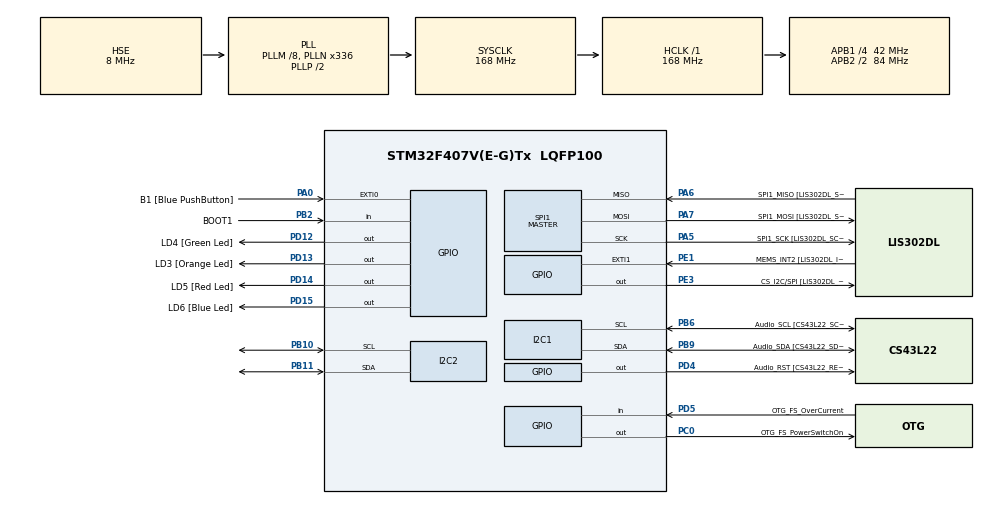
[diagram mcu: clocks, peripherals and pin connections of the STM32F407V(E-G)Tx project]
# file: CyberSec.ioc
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I2C2.I2C_Mode=I2C_Standard
Mcu.Family=STM32F4
Mcu.Name=STM32F407V(E-G)Tx
Mcu.Package=LQFP100
NVIC.PriorityGroup=NVIC_PRIORITYGROUP_0
PA0-WKUP.GPIO_Label=B1 [Blue PushButton]
PA0-WKUP.GPIO_ModeDefaultEXTI=GPIO_MODE_EVT_RISING
PA0-WKUP.GPIO_PuPd=GPIO_NOPULL
PA0-WKUP.Signal=GPXTI0
PA13.GPIO_Label=SWDIO
PA13.Mode=Serial_Wire
PA13.Signal=SYS_JTMS-SWDIO
PA14.GPIO_Label=SWCLK
PA14.Mode=Serial_Wire
PA14.Signal=SYS_JTCK-SWCLK
PA5.GPIO_Label=SPI1_SCK [LIS302DL_SCL/SPC]
PA5.GPIO_Mode=GPIO_MODE_AF_PP
PA5.GPIO_PuPd=GPIO_NOPULL
PA5.GPIO_Speed=GPIO_SPEED_FREQ_LOW
PA5.Mode=Full_Duplex_Master
PA5.Signal=SPI1_SCK
PA6.GPIO_Label=SPI1_MISO [LIS302DL_SDO]
PA6.GPIO_Mode=GPIO_MODE_AF_PP
PA6.GPIO_PuPd=GPIO_NOPULL
PA6.GPIO_Speed=GPIO_SPEED_FREQ_LOW
PA6.Mode=Full_Duplex_Master
PA6.Signal=SPI1_MISO
PA7.GPIO_Label=SPI1_MOSI [LIS302DL_SDA/SDI/SDO]
PA7.GPIO_Mode=GPIO_MODE_AF_PP
PA7.GPIO_PuPd=GPIO_NOPULL
PA7.GPIO_Speed=GPIO_SPEED_FREQ_LOW
PA7.Mode=Full_Duplex_Master
PA7.Signal=SPI1_MOSI
PB10.Mode=I2C
PB10.Signal=I2C2_SCL
PB11.Mode=I2C
PB11.Signal=I2C2_SDA
PB2.GPIO_Label=BOOT1
PB2.GPIO_Mode=GPIO_MODE_INPUT
PB2.GPIO_PuPd=GPIO_NOPULL
PB2.Signal=GPIO_Input
PB6.GPIO_Label=Audio_SCL [CS43L22_SCL]
PB6.GPIO_Mode=GPIO_MODE_AF_OD
PB6.GPIO_Pu=GPIO_PULLUP
PB6.GPIO_PuPd=GPIO_NOPULL
PB6.GPIO_Speed=GPIO_SPEED_FREQ_LOW
PB6.Mode=I2C
PB6.Signal=I2C1_SCL
PB9.GPIO_Label=Audio_SDA [CS43L22_SDA]
PB9.GPIO_Mode=GPIO_MODE_AF_OD
PB9.GPIO_Pu=GPIO_PULLUP
PB9.GPIO_PuPd=GPIO_NOPULL
PB9.GPIO_Speed=GPIO_SPEED_FREQ_LOW
PB9.Mode=I2C
PB9.Signal=I2C1_SDA
PC0.GPIO_Label=OTG_FS_PowerSwitchOn
PC0.GPIO_PuPd=GPIO_NOPULL
PC0.GPIO_Speed=GPIO_SPEED_FREQ_LOW
PC0.PinState=GPIO_PIN_SET
PC0.Signal=GPIO_Output
PC14-OSC32_IN.GPIO_Label=PC14-OSC32_IN
PC14-OSC32_IN.Mode=LSE-External-Oscillator
PC14-OSC32_IN.Signal=RCC_OSC32_IN
PC15-OSC32_OUT.GPIO_Label=PC15-OSC32_OUT
PC15-OSC32_OUT.Mode=LSE-External-Oscillator
PC15-OSC32_OUT.Signal=RCC_OSC32_OUT
PD12.GPIO_Label=LD4 [Green Led]
PD12.GPIO_PuPd=GPIO_NOPULL
PD12.GPIO_Speed=GPIO_SPEED_FREQ_LOW
PD12.Signal=GPIO_Output
PD13.GPIO_Label=LD3 [Orange Led]
PD13.GPIO_PuPd=GPIO_NOPULL
PD13.GPIO_Speed=GPIO_SPEED_FREQ_LOW
PD13.Signal=GPIO_Output
PD14.GPIO_Label=LD5 [Red Led]
PD14.GPIO_PuPd=GPIO_NOPULL
PD14.GPIO_Speed=GPIO_SPEED_FREQ_LOW
PD14.Signal=GPIO_Output
PD15.GPIO_Label=LD6 [Blue Led]
PD15.GPIO_PuPd=GPIO_NOPULL
PD15.GPIO_Speed=GPIO_SPEED_FREQ_LOW
PD15.Signal=GPIO_Output
PD4.GPIO_Label=Audio_RST [CS43L22_RESET]
PD4.GPIO_PuPd=GPIO_NOPULL
PD4.GPIO_Speed=GPIO_SPEED_FREQ_LOW
PD4.Signal=GPIO_Output
PD5.GPIO_Label=OTG_FS_OverCurrent
PD5.GPIO_Mode=GPIO_MODE_INPUT
PD5.GPIO_PuPd=GPIO_NOPULL
PD5.Signal=GPIO_Input
PE1.GPIO_Label=MEMS_INT2 [LIS302DL_INT2]
PE1.GPIO_ModeDefaultEXTI=GPIO_MODE_EVT_RISING
PE1.GPIO_PuPd=GPIO_NOPULL
PE1.Signal=GPXTI1
PE3.GPIO_Label=CS_I2C/SPI [LIS302DL_CS_I2C/SPI]
PE3.GPIO_PuPd=GPIO_NOPULL
PE3.GPIO_Speed=GPIO_SPEED_FREQ_LOW
PE3.Signal=GPIO_Output
PH0-OSC_IN.GPIO_Label=PH0-OSC_IN
PH0-OSC_IN.Mode=HSE-External-Oscillator
PH0-OSC_IN.Signal=RCC_OSC_IN
PH1-OSC_OUT.GPIO_Label=PH1-OSC_OUT
PH1-OSC_OUT.Mode=HSE-External-Oscillator
PH1-OSC_OUT.Signal=RCC_OSC_OUT
ProjectManager.HeapSize=0x200
ProjectManager.StackSize=0x400
ProjectManager.TargetToolchain=STM32CubeIDE
RCC.48MHZClocksFreq_Value=48000000
RCC.AHBFreq_Value=168000000
RCC.APB1CLKDivider=RCC_HCLK_DIV4
RCC.APB1Freq_Value=42000000
RCC.APB1TimFreq_Value=84000000
RCC.APB2CLKDivider=RCC_HCLK_DIV2
RCC.APB2Freq_Value=84000000
RCC.APB2TimFreq_Value=168000000
RCC.CortexFreq_Value=168000000
RCC.HCLKFreq_Value=168000000
RCC.HSE_VALUE=8000000
RCC.HSI_VALUE=16000000
RCC.PLLM=8
RCC.PLLN=336
RCC.PLLQ=7
RCC.PLLSourceVirtual=RCC_PLLSOURCE_HSE
RCC.SYSCLKFreq_VALUE=168000000
RCC.SYSCLKSource=RCC_SYSCLKSOURCE_PLLCLK
RCC.VCOOutputFreq_Value=336000000
SPI1.BaudRatePrescaler-Full_Duplex_Master=SPI_BAUDRATEPRESCALER_2
SPI1.CalculateBaudRate-Full_Duplex_Master=42.0 MBits/s
SPI1.Direction=SPI_DIRECTION_2LINES
SPI1.Mode=SPI_MODE_MASTER
SPI1.Mode-Full_Duplex_Master=SPI_MODE_MASTER
SPI1.VirtualType=VM_MASTER
VP_CRC_VS_CRC.Mode=CRC_Activate
VP_RNG_VS_RNG.Mode=RNG_Activate
board=STM32F407G-DISC1

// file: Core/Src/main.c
/* USER CODE BEGIN Header */
/**
  ******************************************************************************
  * @file           : main.c
  * @brief          : Main program body
  ******************************************************************************
  * @attention
  *
  * Copyright (c) 2023 STMicroelectronics.
  * All rights reserved.
  *
  * This software is licensed under terms that can be found in the LICENSE file
  * in the root directory of this software component.
  * If no LICENSE file comes with this software, it is provided AS-IS.
  *
  ******************************************************************************
  */
/* USER CODE END Header */
#include "main.h"

/* USER CODE BEGIN Includes */
#include "CryptoWrapper.h"
/* USER CODE END Includes */

/* USER CODE BEGIN PD */
#define BUFFER_SIZE 0x1FFFC

/* USER CODE END PD */

CRC_HandleTypeDef hcrc;

I2C_HandleTypeDef hi2c1;
I2C_HandleTypeDef hi2c2;

RNG_HandleTypeDef hrng;

SPI_HandleTypeDef hspi1;

/* USER CODE BEGIN PV */
extern I2C_HandleTypeDef hi2c2;
uint8_t random_number[32];
uint8_t AddressValue = 0;
uint8_t crc_len = 27;
//uint8_t crc_TestVal[5] = { 0x07, 0x02,	0x80,	0x00,	0x00};
				/*  1	 2	   3	4	  5		 6	  7		 8	   9	10	  11	12	  13    14	  15    16	  17    18    19    20    21 */
/*
uint8_t crc_TestVal[31] ={ 0x23, 0xD0, 0x6C, 0x00, 0x00, 0x60, 0x02, 0x60, 0x85, 0xC5, 0x5C, 0xEE, 0x01, 0x39, 0x00, 0xC0, 0x00, 0x00, 0x00,
				  0x83, 0x20, 0x87, 0x20, 0x8F, 0x20, 0xC4, 0x8F, 0x8F, 0x8F, 0x8F, 0x8F };*/
uint8_t crc_TestVal[27] = {0x6C	,0x00,	0x00,	0x60,	0x85,	0xC5	,0x5C,	0xEE,	0x01,	0x39,	0x00,	0xC0,	0x00,	0x00,	0x00,	0x83,	0x20,	0x87, 0x20,
0x8F,	0x20,	0xC4,	0x8F,	0x8F,	0x8F,	0x8F,	0x8F};

const uint8_t SignaturedataNew[70] = {
    0x30, 0x44, 0x02, 0x20, 0x21, 0xA3, 0x57, 0x0E, 0xF2, 0x3C, 0x55, 0xEB, 0xD5, 0xDF, 0x0C, 0x55,
    0xF6, 0xE2, 0xCB, 0x41, 0x07, 0xD3, 0x4F, 0x51, 0x14, 0xE2, 0x3D, 0xB9, 0x1C, 0x9E, 0x5E, 0x4C,
    0x89, 0xB1, 0x01, 0x0E, 0x02, 0x20, 0x3B, 0x54, 0x65, 0x24, 0x44, 0x44, 0xD0, 0x58, 0xFB, 0x95,
    0x61, 0x97, 0xDE, 0x07, 0xA8, 0x17, 0x4F, 0xD0, 0xBD, 0x70, 0x4D, 0xC2, 0xE7, 0x51, 0xEE, 0xB1,
    0x9C, 0x0B, 0xA6, 0x37, 0xBC, 0x5B
};

const uint8_t SignaturedataRSNew [64] =
{		0x44, 0x9D, 0x07, 0x7F, 0xDD, 0xC4, 0xB6, 0xA7,
		0xA1, 0x94, 0x98, 0x86, 0xCD, 0x44, 0xAB, 0xF0,
		0x6B, 0x98, 0x64, 0x12, 0xF1, 0xDF, 0xEC, 0xD8,
		0x6A, 0x88, 0x28, 0x36, 0xBF, 0x63, 0xA3, 0x19,
		0x6D, 0x69, 0xFD, 0x59, 0xB9, 0x3C, 0xDF, 0xA3,
		0x58, 0x48, 0xAF, 0xD7, 0x5D, 0x20, 0x1F, 0x7E,
		0xF6, 0xA2, 0xA5, 0xFD, 0xF8, 0x3D, 0xC6, 0xC5,
		0xE4, 0x65, 0x47, 0xC2, 0xE3, 0x50, 0x2F, 0x80};

const uint8_t SignaturedataRSOld [64] = {0x21, 0xA3, 0x57, 0x0E, 0xF2, 0x3, 0x55,0xEB,
0xD5, 0xDF, 0x0C, 0x55, 0xF6, 0xE2, 0xCB, 0x41,
0x07, 0xD3, 0x4F, 0x51, 0x14, 0xE2, 0x3D, 0xB9,
0x1C, 0x9E, 0x5E, 0x4C, 0x89, 0xB1, 0x01, 0x0E,
0x3B, 0x54, 0x65, 0x24, 0x44, 0x44, 0xD0, 0x58,
0xFB, 0x95, 0x61, 0x97, 0xDE, 0x07, 0xA8, 0x17,
0x4F, 0xD0, 0xBD, 0x70, 0x4D, 0xC2, 0xE7, 0x51,
0xEE, 0xB1, 0x9C, 0x0B, 0xA6, 0x37, 0xBC, 0x5B};

const uint8_t SignaturedataRSOldOutOfBin[64] = {
	/* R */
	0xFA, 0xA6, 0x8B, 0x91, 0x48, 0xC7, 0xB8, 0xC4, 0x61, 0x45, 0x99, 0xEF, 0xC8, 0x61, 0x87, 0xD8,
    0x82, 0x5F, 0xCE, 0x48, 0x1A, 0x9E, 0xB6, 0xDA, 0x4A, 0x60, 0x2E, 0xE4, 0xE8, 0x35, 0x23, 0xD4,
	/* S */
    0x23, 0xAA, 0xB7, 0x80, 0x29, 0x0C, 0x03, 0x02, 0x0C, 0xE8, 0x59, 0xDC, 0xEF, 0x27, 0xC1, 0x51,
    0xF0, 0xD1, 0xAA, 0x6E, 0x42, 0xB0, 0xD3, 0xF8, 0xB4, 0xC3, 0x45, 0xBF, 0xED, 0x7E, 0x0A, 0x5C
};

const uint8_t PublicKeyExtern[64] = {
						0x69,0x47,0x7b,0xfa,0x5a,0x5f,0x08,0x84,
						0x25,0x34,0xbd,0x24,0x79,0x42,0xb2,0x9a,
						0xb6,0xe4,0xdb,0x7a,0x37,0xca,0xc7,0xa0,
						0xb6,0xb7,0x49,0x0d,0x6c,0x01,0x32,0x1a,

						0xf1,0xab,0xc6,0xdb,0x80,0x90,0x70,0x52,
						0x40,0x55,0x6f,0xc1,0x62,0x9a,0xb3,0xd5,
					    0x4c,0x4e,0xac,0x78,0x5f,0x62,0x74,0xe1,
						0x8d,0x64,0x2c,0xd4,0x40,0xc0,0xbf,0x77 };
const uint8_t hash[32] = {
    0x5D, 0x24, 0x33, 0x6A, 0x68, 0x31, 0xEF, 0x93, 0x45, 0xF4, 0x5A, 0x2B, 0x5D, 0x48, 0x4F, 0x3B,
    0x6E, 0x49, 0x4F, 0x76, 0x8C, 0xC1, 0xB7, 0xF4, 0x77, 0xD0, 0x41, 0xC0, 0xA3, 0x1F, 0x11, 0x9F
};

uint8_t crc_TestVal2 = 1;
uint8_t crc_Val_LE[2] = {0};
volatile uint8_t RxBufferLen = 0;
volatile uint8_t idleStatus = 0;
volatile uint8_t DeviceStatus = 0;
uint8_t bufferOut[128] = {0};
uint8_t bufferIn[128] = {0};
uint8_t SerialNumber[9] = {0};
uint8_t TestSecret[32] = {0};
const uint8_t TestSecretEntry[32] ={
0x86, 0x4A, 0x4A ,0x08, 0x1B, 0x10, 0xEF, 0x7D, 0xFC, 0x96, 0x6C, 0xD7, 0xB3, 0x1F, 0x2D, 0x14,
 0x0F, 0xAE, 0xCB, 0x5F, 0xF6, 0xE2, 0x18, 0x27, 0xDF, 0x03, 0x1C, 0x13, 0xE3, 0xA5, 0x97, 0xFA
};
const uint8_t enc_key [32] = {0xAA, 0xAA, 0xAA, 0xAA, 0xAA, 0xAA, 0xAA, 0xAA,
				0xAA, 0xAA, 0xAA, 0xAA, 0xAA, 0xAA, 0xAA, 0xAA,
				0xAA, 0xAA, 0xAA, 0xAA, 0xAA, 0xAA, 0xAA, 0xAA,
				0xAA, 0xAA, 0xAA, 0xAA, 0xAA, 0xAA, 0xAA, 0xAA};

const uint8_t cmac_test_data [4] = { 0x30, 0x30, 0x30, 0x30};

uint8_t cmac_test_data_out [16] = {0};
bool isVerified =  false;
atecc608_config_t ReadConfig;
uint8_t *p_ReadConfig = &ReadConfig;
/* USER CODE END PV */

void SystemClock_Config(void);
static void MX_GPIO_Init(void);
static void MX_I2C1_Init(void);
static void MX_SPI1_Init(void);
static void MX_I2C2_Init(void);
static void MX_RNG_Init(void);
static void MX_CRC_Init(void);
/* USER CODE BEGIN PFP */
int find_I2C_deviceAddress(void);

/* USER CODE END PFP */

int main(void)
{

  /* MCU Configuration--------------------------------------------------------*/

  /* Reset of all peripherals, Initializes the Flash interface and the Systick. */
  HAL_Init();

  /* Configure the system clock */
  SystemClock_Config();

  /* Initialize all configured peripherals */
  MX_GPIO_Init();
  MX_I2C1_Init();
  MX_SPI1_Init();
  MX_I2C2_Init();
  MX_RNG_Init();
  MX_CRC_Init();
  /* USER CODE BEGIN 2 */
 // AddressValue = find_I2C_deviceAddress();
  // initialize CryptoAuthLib for an ECC default I2C interface
  uint32_t BufferCount = BUFFER_SIZE /4;
  uint32_t BufferCount2 = 1;
  uint32_t myDataBuffer =(uint32_t*) 0x08040000;
  uint8_t testByte = 0;
  uint32_t R_ChecksumValue = 0;
  const char *p_StartAddress = 0x08040000;
  uint32_t u32_ChecksumValue = 0;
  uint8_t _36thByte = 0;
  uint8_t byteNumber = 36;
  uint8_t ATCA_ReturnStatus = 0;
  memset (bufferOut, 0x00, 128);
      bufferIn [0] = 'a';
      bufferIn [1] = 'b';
      bufferIn [2] = 'c';
      bufferIn [3] = 'd';

//
//// atca_trace_config( fopen("log/file1.txt", "w"));
// //atCRC(crc_len, &crc_TestVal[0], crc_Val_LE);
//u32_ChecksumValue = HAL_CRC_Accumulate(&hcrc, myDataBuffer, BufferCount);
//R_ChecksumValue = BE_to_SE_convert(u32_ChecksumValue);
// sha256( (uint8_t*)0x08000000, 0xFFD0u, bufferOut);
// for(int i = 0; i < 8;i++)
// {
// HAL_RNG_GenerateRandomNumber(&hrng, &random_number[i*4]);
// }

      DeviceStatus = Crypto_u_Init();

//      DeviceStatus = Crypto_u_ReadSerialNumber(SerialNumber);

//      DeviceStatus = Crypto_u_ReadConfigZone(bufferOut);
//
//      for(int i = 0; i < sizeof(ReadConfig); i++)
//      {
//    	  *(p_ReadConfig + i) = bufferOut[i];
//      }
      //DeviceStatus = atcab_write_pubkey(PUBLIC_KEY_SLOT, &PublicKeyExtern[0]);

  //    DeviceStatus = atcab_write_zone(ATCA_ZONE_DATA, (uint16_t)8U, 0, 0, &enc_key[0], 32);
   //   DeviceStatus = atcab_write_enc(14U, 0, TestSecretEntry, enc_key, 8U);
  //     DeviceStatus = atcab_write_zone(ATCA_ZONE_DATA, (uint16_t)12U, 0, 0, &TestSecretEntry[0], 32);
      DeviceStatus  = Crypto_u_Verify_stored(10U, hash, SignaturedataRSOldOutOfBin, &isVerified);
      DeviceStatus = Crypto_u_ReadSecret(TestSecret);
      DeviceStatus = Crypto_u_CalculateCMAC(AES_KEY2_SLOT, 0, cmac_test_data, 4U, cmac_test_data_out, 16U);
     // DeviceStatus = Crypto_u_Verify(hash, SignaturedataRSOldOutOfBin, PublicKeyExtern, &isVerified);
      HAL_Delay(1);
  /* USER CODE END 2 */

  /* Infinite loop */
  /* USER CODE BEGIN WHILE */
  while (1)
  {
	  idleStatus = atcab_idle();
    /* USER CODE END WHILE */

  }
}

void SystemClock_Config(void)
{
  RCC_OscInitTypeDef RCC_OscInitStruct = {0};
  RCC_ClkInitTypeDef RCC_ClkInitStruct = {0};

  /** Configure the main internal regulator output voltage
  */
  __HAL_RCC_PWR_CLK_ENABLE();
  __HAL_PWR_VOLTAGESCALING_CONFIG(PWR_REGULATOR_VOLTAGE_SCALE1);

  /** Initializes the RCC Oscillators according to the specified parameters
  * in the RCC_OscInitTypeDef structure.
  */
  RCC_OscInitStruct.OscillatorType = RCC_OSCILLATORTYPE_HSE;
  RCC_OscInitStruct.HSEState = RCC_HSE_ON;
  RCC_OscInitStruct.PLL.PLLState = RCC_PLL_ON;
  RCC_OscInitStruct.PLL.PLLSource = RCC_PLLSOURCE_HSE;
  RCC_OscInitStruct.PLL.PLLM = 8;
  RCC_OscInitStruct.PLL.PLLN = 336;
  RCC_OscInitStruct.PLL.PLLP = RCC_PLLP_DIV2;
  RCC_OscInitStruct.PLL.PLLQ = 7;
  if (HAL_RCC_OscConfig(&RCC_OscInitStruct) != HAL_OK)
  {
    Error_Handler();
  }

  /** Initializes the CPU, AHB and APB buses clocks
  */
  RCC_ClkInitStruct.ClockType = RCC_CLOCKTYPE_HCLK|RCC_CLOCKTYPE_SYSCLK
                              |RCC_CLOCKTYPE_PCLK1|RCC_CLOCKTYPE_PCLK2;
  RCC_ClkInitStruct.SYSCLKSource = RCC_SYSCLKSOURCE_PLLCLK;
  RCC_ClkInitStruct.AHBCLKDivider = RCC_SYSCLK_DIV1;
  RCC_ClkInitStruct.APB1CLKDivider = RCC_HCLK_DIV4;
  RCC_ClkInitStruct.APB2CLKDivider = RCC_HCLK_DIV2;

  if (HAL_RCC_ClockConfig(&RCC_ClkInitStruct, FLASH_LATENCY_5) != HAL_OK)
  {
    Error_Handler();
  }
}

static void MX_CRC_Init(void)
{

  hcrc.Instance = CRC;
  if (HAL_CRC_Init(&hcrc) != HAL_OK)
  {
    Error_Handler();
  }

}

static void MX_I2C1_Init(void)
{

  hi2c1.Instance = I2C1;
  hi2c1.Init.ClockSpeed = 100000;
  hi2c1.Init.DutyCycle = I2C_DUTYCYCLE_2;
  hi2c1.Init.OwnAddress1 = 0;
  hi2c1.Init.AddressingMode = I2C_ADDRESSINGMODE_7BIT;
  hi2c1.Init.DualAddressMode = I2C_DUALADDRESS_DISABLE;
  hi2c1.Init.OwnAddress2 = 0;
  hi2c1.Init.GeneralCallMode = I2C_GENERALCALL_DISABLE;
  hi2c1.Init.NoStretchMode = I2C_NOSTRETCH_DISABLE;
  if (HAL_I2C_Init(&hi2c1) != HAL_OK)
  {
    Error_Handler();
  }

}

static void MX_I2C2_Init(void)
{

  hi2c2.Instance = I2C2;
  hi2c2.Init.ClockSpeed = 100000;
  hi2c2.Init.DutyCycle = I2C_DUTYCYCLE_2;
  hi2c2.Init.OwnAddress1 = 0;
  hi2c2.Init.AddressingMode = I2C_ADDRESSINGMODE_7BIT;
  hi2c2.Init.DualAddressMode = I2C_DUALADDRESS_DISABLE;
  hi2c2.Init.OwnAddress2 = 0;
  hi2c2.Init.GeneralCallMode = I2C_GENERALCALL_DISABLE;
  hi2c2.Init.NoStretchMode = I2C_NOSTRETCH_DISABLE;
  if (HAL_I2C_Init(&hi2c2) != HAL_OK)
  {
    Error_Handler();
  }

}

static void MX_RNG_Init(void)
{

  hrng.Instance = RNG;
  if (HAL_RNG_Init(&hrng) != HAL_OK)
  {
    Error_Handler();
  }

}

static void MX_SPI1_Init(void)
{

  /* SPI1 parameter configuration*/
  hspi1.Instance = SPI1;
  hspi1.Init.Mode = SPI_MODE_MASTER;
  hspi1.Init.Direction = SPI_DIRECTION_2LINES;
  hspi1.Init.DataSize = SPI_DATASIZE_8BIT;
  hspi1.Init.CLKPolarity = SPI_POLARITY_LOW;
  hspi1.Init.CLKPhase = SPI_PHASE_1EDGE;
  hspi1.Init.NSS = SPI_NSS_SOFT;
  hspi1.Init.BaudRatePrescaler = SPI_BAUDRATEPRESCALER_2;
  hspi1.Init.FirstBit = SPI_FIRSTBIT_MSB;
  hspi1.Init.TIMode = SPI_TIMODE_DISABLE;
  hspi1.Init.CRCCalculation = SPI_CRCCALCULATION_DISABLE;
  hspi1.Init.CRCPolynomial = 10;
  if (HAL_SPI_Init(&hspi1) != HAL_OK)
  {
    Error_Handler();
  }

}

static void MX_GPIO_Init(void)
{
  GPIO_InitTypeDef GPIO_InitStruct = {0};

  /* GPIO Ports Clock Enable */
  __HAL_RCC_GPIOE_CLK_ENABLE();
  __HAL_RCC_GPIOC_CLK_ENABLE();
  __HAL_RCC_GPIOH_CLK_ENABLE();
  __HAL_RCC_GPIOA_CLK_ENABLE();
  __HAL_RCC_GPIOB_CLK_ENABLE();
  __HAL_RCC_GPIOD_CLK_ENABLE();

  /*Configure GPIO pin Output Level */
  HAL_GPIO_WritePin(CS_I2C_SPI_GPIO_Port, CS_I2C_SPI_Pin, GPIO_PIN_RESET);

  /*Configure GPIO pin Output Level */
  HAL_GPIO_WritePin(OTG_FS_PowerSwitchOn_GPIO_Port, OTG_FS_PowerSwitchOn_Pin, GPIO_PIN_SET);

  /*Configure GPIO pin Output Level */
  HAL_GPIO_WritePin(GPIOD, LD4_Pin|LD3_Pin|LD5_Pin|LD6_Pin
                          |Audio_RST_Pin, GPIO_PIN_RESET);

  /*Configure GPIO pin : CS_I2C_SPI_Pin */
  GPIO_InitStruct.Pin = CS_I2C_SPI_Pin;
  GPIO_InitStruct.Mode = GPIO_MODE_OUTPUT_PP;
  GPIO_InitStruct.Pull = GPIO_NOPULL;
  GPIO_InitStruct.Speed = GPIO_SPEED_FREQ_LOW;
  HAL_GPIO_Init(CS_I2C_SPI_GPIO_Port, &GPIO_InitStruct);

  /*Configure GPIO pin : OTG_FS_PowerSwitchOn_Pin */
  GPIO_InitStruct.Pin = OTG_FS_PowerSwitchOn_Pin;
  GPIO_InitStruct.Mode = GPIO_MODE_OUTPUT_PP;
  GPIO_InitStruct.Pull = GPIO_NOPULL;
  GPIO_InitStruct.Speed = GPIO_SPEED_FREQ_LOW;
  HAL_GPIO_Init(OTG_FS_PowerSwitchOn_GPIO_Port, &GPIO_InitStruct);

  /*Configure GPIO pin : B1_Pin */
  GPIO_InitStruct.Pin = B1_Pin;
  GPIO_InitStruct.Mode = GPIO_MODE_EVT_RISING;
  GPIO_InitStruct.Pull = GPIO_NOPULL;
  HAL_GPIO_Init(B1_GPIO_Port, &GPIO_InitStruct);

  /*Configure GPIO pin : BOOT1_Pin */
  GPIO_InitStruct.Pin = BOOT1_Pin;
  GPIO_InitStruct.Mode = GPIO_MODE_INPUT;
  GPIO_InitStruct.Pull = GPIO_NOPULL;
  HAL_GPIO_Init(BOOT1_GPIO_Port, &GPIO_InitStruct);

  /*Configure GPIO pins : LD4_Pin LD3_Pin LD5_Pin LD6_Pin
                           Audio_RST_Pin */
  GPIO_InitStruct.Pin = LD4_Pin|LD3_Pin|LD5_Pin|LD6_Pin
                          |Audio_RST_Pin;
  GPIO_InitStruct.Mode = GPIO_MODE_OUTPUT_PP;
  GPIO_InitStruct.Pull = GPIO_NOPULL;
  GPIO_InitStruct.Speed = GPIO_SPEED_FREQ_LOW;
  HAL_GPIO_Init(GPIOD, &GPIO_InitStruct);

  /*Configure GPIO pin : OTG_FS_OverCurrent_Pin */
  GPIO_InitStruct.Pin = OTG_FS_OverCurrent_Pin;
  GPIO_InitStruct.Mode = GPIO_MODE_INPUT;
  GPIO_InitStruct.Pull = GPIO_NOPULL;
  HAL_GPIO_Init(OTG_FS_OverCurrent_GPIO_Port, &GPIO_InitStruct);

  /*Configure GPIO pin : MEMS_INT2_Pin */
  GPIO_InitStruct.Pin = MEMS_INT2_Pin;
  GPIO_InitStruct.Mode = GPIO_MODE_EVT_RISING;
  GPIO_InitStruct.Pull = GPIO_NOPULL;
  HAL_GPIO_Init(MEMS_INT2_GPIO_Port, &GPIO_InitStruct);

}

/* USER CODE BEGIN 4 */

int find_I2C_deviceAddress(void)
{
	uint8_t i=0;
	for(i=0;i<255;i++)
	{
		if(HAL_I2C_IsDeviceReady(&hi2c2,i,1,10) == HAL_OK)
		{
			HAL_GPIO_TogglePin(LD3_GPIO_Port, LD3_Pin);
			return i;
			break;
		}
	}
	return -1;//greska
}
/* USER CODE END 4 */

void Error_Handler(void)
{
  __disable_irq();
  while (1)
  {
  }
}
